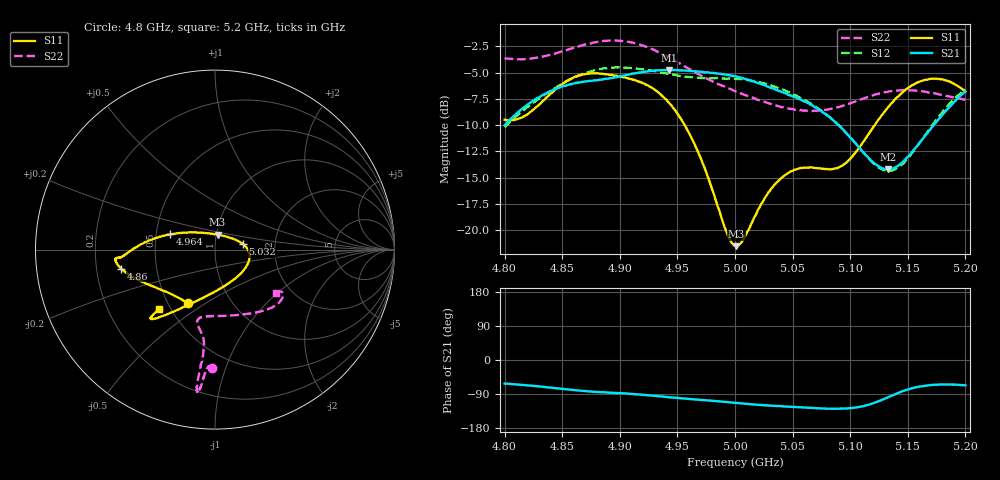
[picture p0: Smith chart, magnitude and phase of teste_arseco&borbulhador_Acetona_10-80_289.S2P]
! Network Analyzer HP8722D
! Hewlett-Packard
! Data name: Linha & Wilkinson
! Saver's name: Rodrigo Anjos
! Comments: Teste da utilização de aquisição
! continua pelo VNA HP8722D
! Time and date: 17/4/2025 16:46
!  Frequency  S11  S21  S12  S22
# HZ  S  MA R 50
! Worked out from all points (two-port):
!   401 points, 4.8 GHz to 5.2 GHz, reference 50 ohm
!   highest |S21| = -4.74 dB at 4.943 GHz (marker M1); lowest = -14.2 dB at 5.133 GHz (marker M2)
!   |S21| within 3 dB of the highest: 4.824 GHz to 5.06 GHz (236.3 MHz wide, 4.78 % of centre); 5.190765 GHz to end of sweep
!   lowest |S11| = -21.5 dB at 5.001 GHz (marker M3), VSWR 1.18, Z = 50.7 + j8.48 ohm
!   |S11| at or under -10 dB: 4.956 GHz to 5.121 GHz (164.9 MHz wide, 3.27 % of centre)
!   |S22| runs from -8.7 to -1.9 dB; largest |S21 - S12| = 0.87
!   S11 on the Smith chart (normalised r, x): 4.8 GHz: 0.63, -0.42; 4.86 GHz: 0.31, -0.09; 4.964 GHz: 0.59, +0.11; 5.032 GHz: 1.37, +0.09; 5.2 GHz: 0.43, -0.36
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4.8e9  0.3362 -116.9  0.3155 -62.3  0.3096 -176.6  0.6581 -91.5
4.819e9  0.3538 -137.2  0.3924 -66.6  0.382 -176.1  0.6537 -93.1
4.86e9  0.5337 -168.6  0.4995 -79.3  0.5324 -179.6  0.7372 -95.5
4.867e9  0.5493 -171.3  0.5079 -81.3  0.5498 179.3  0.7569 -95.7
4.899e9  0.5392 -175.2  0.5364 -87.5  0.5961 173.2  0.7965 -97.2
4.934e9  0.4505 179.0  0.5758 -95.6  0.566 170.0  0.7011 -97.3
4.943e9  0.4022 175.1  0.5791 -98.3  0.5536 170.1  0.662 -97.0
4.964e9  0.2635 161.2  0.5701 -103.6  0.5334 172.0  0.5688 -96.4
4.993e9  0.09706 111.2  0.5485 -111.0  0.5257 174.3  0.4757 -98.8
5e9  0.08464 84.5  0.541 -113.2  0.5254 174.2  0.4589 -100.3
5.001e9  0.08418 80.2  0.5393 -113.2  0.5241 174.1  0.4568 -100.5
5.007e9  0.08994 57.6  0.5288 -114.9  0.5201 174.0  0.4432 -101.7
5.032e9  0.1591 11.1  0.4741 -120.6  0.4857 173.0  0.3971 -103.4
5.049e9  0.1909 -4.9  0.4362 -123.4  0.4485 172.3  0.3779 -98.8
5.067e9  0.199 -24.4  0.393 -126.5  0.3978 172.0  0.3691 -88.3
5.096e9  0.2088 -74.7  0.2919 -128.0  0.2928 174.8  0.395 -65.9
5.12e9  0.3095 -110.6  0.2107 -114.2  0.2084 -169.3  0.4382 -50.0
5.133e9  0.3851 -120.8  0.1952 -98.1  0.1915 -151.3  0.4564 -43.7
5.134e9  0.3912 -121.5  0.1955 -96.8  0.1915 -149.8  0.4579 -43.3
5.146e9  0.4557 -127.0  0.2124 -81.8  0.2077 -132.4  0.464 -38.8
5.168e9  0.5229 -132.3  0.2951 -66.8  0.2986 -113.2  0.4521 -33.4
5.2e9  0.4566 -133.4  0.4574 -66.8  0.4688 -109.1  0.4172 -35.1
